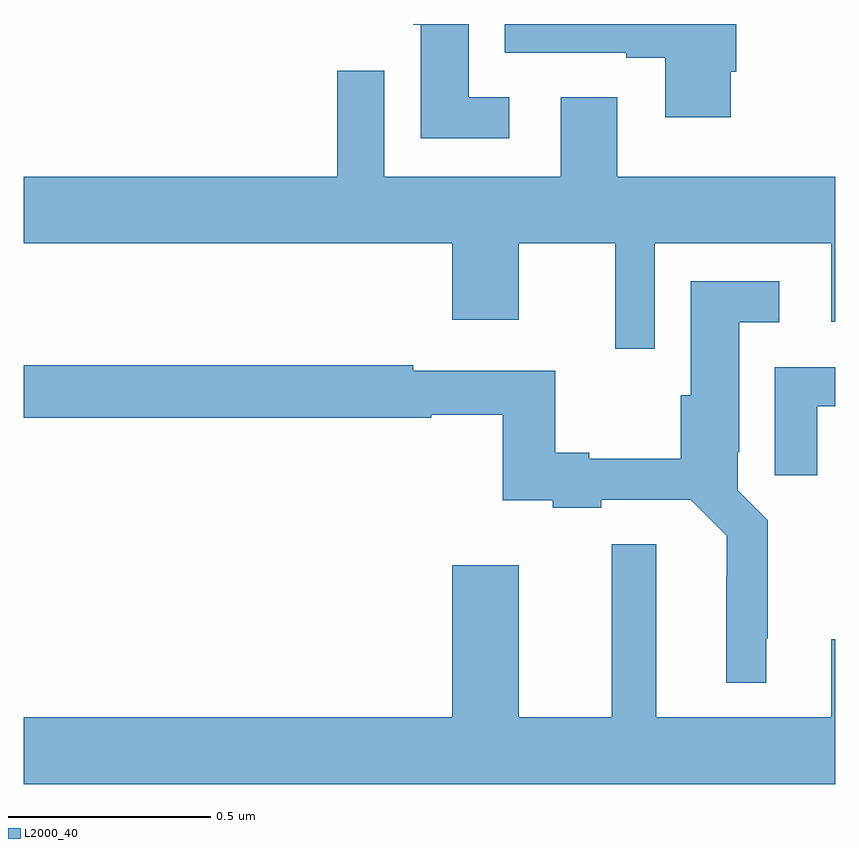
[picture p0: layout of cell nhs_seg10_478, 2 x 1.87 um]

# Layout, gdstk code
import gdstk
lib = gdstk.Library(unit=1e-6, precision=1e-09)
def P(c, l, *ps):  # polygons
    for p in ps: c.add(gdstk.Polygon(p, *l))
L2000_40 = (2000, 40)

nhs_seg10_478 = lib.new_cell('nhs_seg10_478')
P(nhs_seg10_478, L2000_40, [(117.742,1323.382),(117.755,1323.382),(117.755,1323.5),(117.185,1323.5),(117.185,1323.429),(117.485,1323.429),(117.485,1323.417),(117.581,1323.417),(117.581,1323.27),(117.742,1323.27)],
  [(117.196,1323.319),(117.097,1323.319),(117.097,1323.5),(116.96,1323.5),(116.96,1323.498),(116.978,1323.498),(116.978,1323.218),(117.196,1323.218)],
  [(117.555,1322.96),(117.989,1322.96),(117.989,1322.766),(118,1322.766),(118,1323.124),(117.463,1323.124),(117.463,1323.319),(117.323,1323.319),(117.323,1323.124),(116.889,1323.124),(116.889,1323.385),(116.773,1323.385),(116.773,1323.124),(116,1323.124),(116,1322.96),(117.056,1322.96),(117.056,1322.772),(117.22,1322.772),(117.22,1322.96),(117.457,1322.96),(117.457,1322.7),(117.555,1322.7)],
  [(117.829,1321.987),(117.833,1321.987),(117.833,1322.278),(117.759,1322.352),(117.759,1322.446),(117.763,1322.446),(117.763,1322.765),(117.862,1322.765),(117.862,1322.866),(117.644,1322.866),(117.644,1322.586),(117.619,1322.586),(117.619,1322.429),(117.394,1322.429),(117.394,1322.444),(117.31,1322.444),(117.31,1322.646),(116.96,1322.646),(116.96,1322.659),(116,1322.659),(116,1322.53),(117.004,1322.53),(117.004,1322.538),(117.181,1322.538),(117.181,1322.327),(117.304,1322.327),(117.304,1322.308),(117.423,1322.308),(117.423,1322.328),(117.644,1322.328),(117.732,1322.24),(117.732,1322.138),(117.731,1322.138),(117.731,1321.877),(117.829,1321.877)],
  [(117.955,1322.559),(118,1322.559),(118,1322.655),(117.851,1322.655),(117.851,1322.388),(117.955,1322.388)],
  [(118,1321.984),(117.989,1321.984),(117.989,1321.792),(117.559,1321.792),(117.559,1322.218),(117.449,1322.218),(117.449,1321.792),(117.22,1321.792),(117.22,1322.167),(117.056,1322.167),(117.056,1321.792),(116,1321.792),(116,1321.628),(118,1321.628)])

lib.write_gds('nhs_seg10_478.gds')
